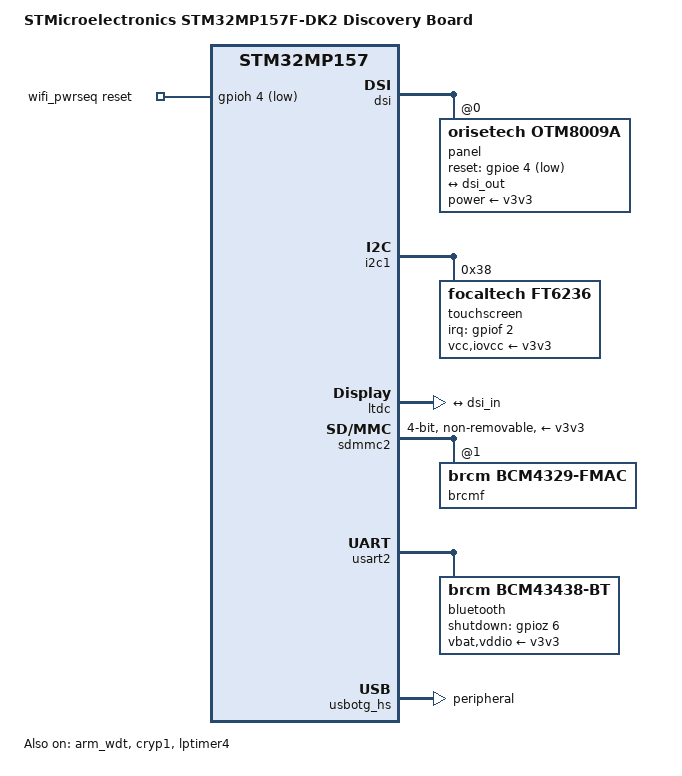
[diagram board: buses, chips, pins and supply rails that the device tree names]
// SPDX-License-Identifier: (GPL-2.0-only OR BSD-3-Clause)
/*
 * Copyright (C) STMicroelectronics 2025 - All Rights Reserved
 * Author: Amelie Delaunay <amelie.delaunay@foss.st.com> for STMicroelectronics.
 */

/dts-v1/;

#include "stm32mp157.dtsi"
#include "stm32mp15xf.dtsi"
#include "stm32mp15-pinctrl.dtsi"
#include "stm32mp15xxac-pinctrl.dtsi"
#include "stm32mp15xx-dkx.dtsi"
#include "stm32mp157-scmi.dtsi"
#include "stm32mp15xc-scmi.dtsi"

/ {
	model = "STMicroelectronics STM32MP157F-DK2 Discovery Board";
	compatible = "st,stm32mp157f-dk2", "st,stm32mp157";

	aliases {
		ethernet0 = &ethernet0;
		serial3 = &usart2;
	};

	chosen {
		#address-cells = <1>;
		#size-cells = <1>;
		ranges;
		stdout-path = "serial0:115200n8";

		framebuffer {
			compatible = "simple-framebuffer";
			clocks = <&rcc LTDC_PX>, <&rcc DSI>, <&rcc DSI_PX>;
			status = "disabled";
		};
	};

	gpio-keys {
		button-wakeup {
			label = "wake-up";
			linux,code = <KEY_WAKEUP>;
			interrupts-extended = <&optee 0>;
			wakeup-source;
		};
	};

	reserved-memory {
		optee@de000000 {
			reg = <0xde000000 0x2000000>;
			no-map;
		};
	};

	wifi_pwrseq: wifi-pwrseq {
		compatible = "mmc-pwrseq-simple";
		reset-gpios = <&gpioh 4 GPIO_ACTIVE_LOW>;
		clocks = <&rtc>;
		clock-names = "ext_clock";
	};
};

&arm_wdt {
	timeout-sec = <32>;
	bootph-all;
	status = "okay";
};

&cryp1 {
	status = "okay";
};

&dsi {
	#address-cells = <1>;
	#size-cells = <0>;
	status = "okay";

	panel: panel@0 {
		compatible = "orisetech,otm8009a";
		reg = <0>;
		reset-gpios = <&gpioe 4 GPIO_ACTIVE_LOW>;
		power-supply = <&v3v3>;

		port {
			panel_in: endpoint {
				remote-endpoint = <&dsi_out>;
			};
		};
	};
};

&dsi_in {
	remote-endpoint = <&ltdc_ep1_out>;
};

&dsi_out {
	remote-endpoint = <&panel_in>;
};

&hdp {
	pinctrl-names = "default", "sleep";
	pinctrl-0 = <&hdp2_gpo &hdp2_pins_a>;
	pinctrl-1 = <&hdp2_sleep_pins_a>;
};

&i2c1 {
	touchscreen@38 {
		compatible = "focaltech,ft6236";
		reg = <0x38>;
		interrupts = <2 IRQ_TYPE_EDGE_FALLING>;
		interrupt-parent = <&gpiof>;
		touchscreen-size-x = <480>;
		touchscreen-size-y = <800>;
		vcc-supply = <&v3v3>;
		iovcc-supply = <&v3v3>;
		panel = <&panel>;
	};
};

&i2c4 {
	status = "disabled";

	typec@28 {
		status = "disabled";

		/delete-node/ connector;
	};

	pmic@33 {
		status = "disabled";

		/delete-node/ regulators;
	};
};

&iwdg1 {
	/* IWDG1 is secure and managed through arm_wdt */
	status = "disabled";
};

&lptimer4 {
	status = "okay";

	timer {
		status = "okay";
	};
};

&ltdc {
	bootph-some-ram;
	status = "okay";

	port {
		#address-cells = <1>;
		#size-cells = <0>;

		ltdc_ep1_out: endpoint@1 {
			reg = <1>;
			remote-endpoint = <&dsi_in>;
		};
	};
};

&rtc {
	#clock-cells = <0>;
	pinctrl-names = "default";
	pinctrl-0 = <&rtc_rsvd_pins_a &rtc_lsco_pins_a>;

	rtc_lsco_pins_a: rtc-lsco-0 {
		pins = "out2_rmp";
		function = "lsco";
	};
};

&scmi_regu {
	vddcore: regulator@3 {
		reg = <VOLTD_SCMI_STPMIC1_BUCK1>;
		regulator-name = "vddcore";
	};

	vdd: regulator@5 {
		reg = <VOLTD_SCMI_STPMIC1_BUCK3>;
		regulator-name = "vdd";
	};

	v3v3: regulator@6 {
		reg = <VOLTD_SCMI_STPMIC1_BUCK4>;
		regulator-name = "v3v3";
	};

	v1v8_audio: regulator@7 {
		reg = <VOLTD_SCMI_STPMIC1_LDO1>;
		regulator-name = "v1v8_audio";
	};

	v3v3_hdmi: regulator@8 {
		reg = <VOLTD_SCMI_STPMIC1_LDO2>;
		regulator-name = "v3v3_hdmi";
	};

	vdd_usb: regulator@a {
		reg = <VOLTD_SCMI_STPMIC1_LDO4>;
		regulator-name = "vdd_usb";
	};

	vdda: regulator@b {
		reg = <VOLTD_SCMI_STPMIC1_LDO5>;
		regulator-name = "vdda";
		regulator-boot-on;
	};

	v1v2_hdmi: regulator@c {
		reg = <VOLTD_SCMI_STPMIC1_LDO6>;
		regulator-name = "v1v2_hdmi";
	};

	vbus_otg: regulator@f {
		reg = <VOLTD_SCMI_STPMIC1_PWR_SW1>;
		regulator-name = "vbus_otg";
	};

	vbus_sw: regulator@10 {
		reg = <VOLTD_SCMI_STPMIC1_PWR_SW2>;
		regulator-name = "vbus_sw";
	};
};

/* Wifi */
&sdmmc2 {
	pinctrl-names = "default", "opendrain", "sleep";
	pinctrl-0 = <&sdmmc2_b4_pins_a>;
	pinctrl-1 = <&sdmmc2_b4_od_pins_a>;
	pinctrl-2 = <&sdmmc2_b4_sleep_pins_a>;
	non-removable;
	cap-power-off-card;
	cap-sdio-irq;
	st,neg-edge;
	bus-width = <4>;
	vmmc-supply = <&v3v3>;
	mmc-pwrseq = <&wifi_pwrseq>;
	#address-cells = <1>;
	#size-cells = <0>;
	status = "okay";

	brcmf: wifi@1 {
		reg = <1>;
		compatible = "brcm,bcm4329-fmac";
	};
};

/* Bluetooth */
&usart2 {
	pinctrl-names = "default", "sleep", "idle";
	pinctrl-0 = <&usart2_pins_c>;
	pinctrl-1 = <&usart2_sleep_pins_c>;
	pinctrl-2 = <&usart2_idle_pins_c>;
	uart-has-rtscts;
	status = "okay";

	bluetooth {
		shutdown-gpios = <&gpioz 6 GPIO_ACTIVE_HIGH>;
		compatible = "brcm,bcm43438-bt";
		clocks = <&rtc>;
		clock-names = "lpo";
		max-speed = <2000000>;
		vbat-supply = <&v3v3>;
		vddio-supply = <&v3v3>;
	};
};

&usbotg_hs {
	/*
	 * Forcing dr_mode = "peripheral"/"role-switch-default-mode = "peripheral"; as stusb1600
	 * on i2c4 bus has been secured. This causes the pull-up on D+/D- to be raised as soon as
	 * the OTG is configured at runtime, regardless of the presence of VBUS. Notice that on
	 * self-powered devices like stm32mp157f-dk2, this isn't compliant with the USB standard.
	 */
	dr_mode = "peripheral";
	role-switch-default-mode = "peripheral";
	/delete-node/ port;
};
